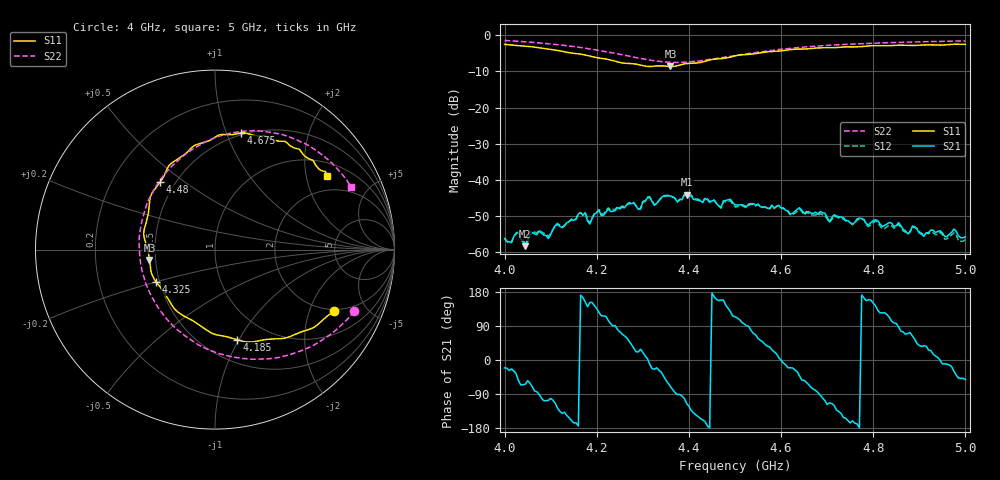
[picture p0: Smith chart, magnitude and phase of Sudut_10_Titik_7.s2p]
# Hz S RI R 50
! CMT, C1220, 16058040, 17.2.0/1
! Date: 15/08/2018 11:59:52
! Data: Format (Calibration Info)
! Freq  S11: Re/Im (F2)  S21: Re/Im (F2)  S12: Re/Im (F2)  S22: Re/Im (F2)
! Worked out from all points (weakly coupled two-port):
!   201 points, 4 GHz to 5 GHz, reference 50 ohm
!   highest |S21| = -44.18 dB at 4.395 GHz (marker M1); lowest = -58.4 dB at 4.045 GHz (marker M2)
!   lowest |S11| = -8.6 dB at 4.36 GHz (marker M3), VSWR 2.17, Z = 23.1 - j3.11 ohm
!   |S11| at or under -10 dB: nowhere
!   |S22| runs from -7.5 to -1.4 dB; largest |S21 - S12| = 0.00038
!   S11 on the Smith chart (normalised r, x): 4 GHz: 1.92, -2.99; 4.185 GHz: 0.72, -0.98; 4.325 GHz: 0.48, -0.20; 4.48 GHz: 0.41, +0.41; 4.675 GHz: 0.48, +1.12; 5 GHz: 1.41, +2.65
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4e9  0.6651 -0.3428  0.00143 -0.000543  0.00146 -0.000524  0.7755 -0.3434
4.015e9  0.6376 -0.3622  0.00125 -0.000546  0.00127 -0.000446  0.7479 -0.3767
4.03e9  0.6044 -0.3887  0.00109 -0.0015  0.00122 -0.00153  0.7173 -0.4076
4.045e9  0.5702 -0.4198  0.000531 -0.00108  0.000664 -0.00106  0.6839 -0.4393
4.06e9  0.535 -0.4409  0.000619 -0.00175  0.000706 -0.00184  0.6484 -0.4687
4.095e9  0.43 -0.4792  -0.000441 -0.00147  -0.000516 -0.00156  0.5524 -0.5312
4.11e9  0.3823 -0.4946  -0.000955 -0.00212  -0.000977 -0.00216  0.5025 -0.5546
4.17e9  0.1702 -0.5141  -0.0031 0.00085  -0.00315 0.000778  0.2792 -0.6089
4.185e9  0.1218 -0.501  -0.00214 0.00115  -0.00227 0.00112  0.2162 -0.6112
4.205e9  0.0457 -0.482  -0.00214 0.00308  -0.00228 0.00314  0.129 -0.6029
4.295e9  -0.2486 -0.2956  0.00344 0.00187  0.00351 0.0019  -0.251 -0.4079
4.315e9  -0.2995 -0.2173  0.00555 -0.00113  0.00568 -0.00129  -0.3138 -0.3285
4.325e9  -0.3265 -0.1822  0.00404 -0.00183  0.00402 -0.00204  -0.34 -0.2847
4.335e9  -0.3466 -0.1498  0.00462 -0.00235  0.00452 -0.00244  -0.3645 -0.2386
4.36e9  -0.3652 -0.0581  0.00203 -0.00559  0.00203 -0.00556  -0.4066 -0.1155
4.395e9  -0.3969 0.084  -0.00257 -0.00562  -0.00264 -0.00573  -0.4227 0.0573
4.48e9  -0.3068 0.3745  -0.0042 0.00299  -0.00383 0.0031  -0.2898 0.408
4.5e9  -0.2695 0.4426  -0.00184 0.00411  -0.0017 0.00384  -0.2381 0.4673
4.67e9  0.1322 0.6472  0.000774 -0.00334  0.000737 -0.00315  0.2404 0.6616
4.675e9  0.1422 0.6496  0.000587 -0.0035  0.000546 -0.00323  0.2532 0.6608
4.835e9  0.4384 0.5676  -0.000969 0.00237  -0.000979 0.00215  0.5749 0.544
5e9  0.6248 0.4123  0.00101 -0.00127  0.000976 -0.00113  0.7599 0.3476
